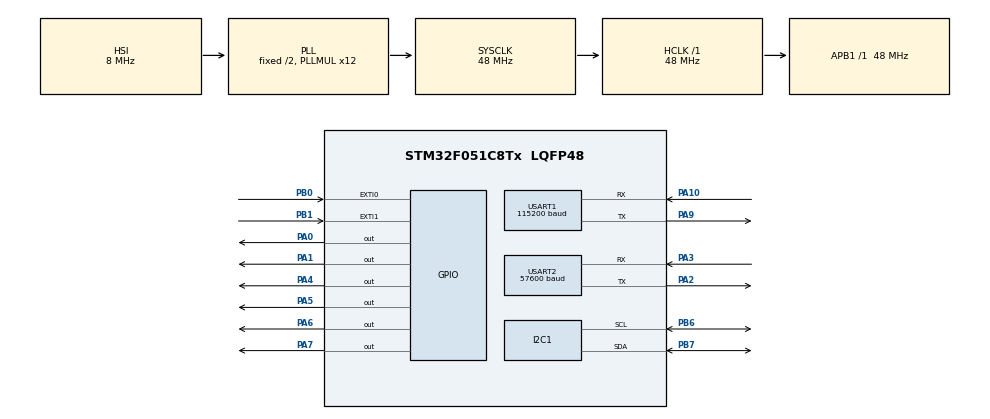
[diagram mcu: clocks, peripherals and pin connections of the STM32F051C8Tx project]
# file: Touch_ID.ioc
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Dma.Request0=USART2_RX
Dma.USART2_RX.0.Direction=DMA_PERIPH_TO_MEMORY
Dma.USART2_RX.0.Instance=DMA1_Channel5
Dma.USART2_RX.0.MemDataAlignment=DMA_MDATAALIGN_BYTE
Dma.USART2_RX.0.MemInc=DMA_MINC_ENABLE
Dma.USART2_RX.0.Mode=DMA_NORMAL
Dma.USART2_RX.0.PeriphDataAlignment=DMA_PDATAALIGN_BYTE
Dma.USART2_RX.0.PeriphInc=DMA_PINC_DISABLE
Dma.USART2_RX.0.Priority=DMA_PRIORITY_LOW
I2C1.OwnAddress=0x33
I2C1.Timing=0x2000090E
Mcu.Family=STM32F0
Mcu.Name=STM32F051C8Tx
Mcu.Package=LQFP48
NVIC.DMA1_Channel4_5_IRQn=true\:0\:0\:false
NVIC.EXTI0_1_IRQn=true\:0\:0\:false
NVIC.TIM2_IRQn=true\:0\:0\:false
NVIC.USART1_IRQn=true\:0\:0\:false
NVIC.USART2_IRQn=true\:0\:0\:false
PA0.GPIO_Speed=GPIO_SPEED_HIGH
PA0.Signal=GPIO_Output
PA1.GPIO_Speed=GPIO_SPEED_HIGH
PA1.Signal=GPIO_Output
PA10.Mode=Asynchronous
PA10.Signal=USART1_RX
PA2.Mode=Asynchronous
PA2.Signal=USART2_TX
PA3.Mode=Asynchronous
PA3.Signal=USART2_RX
PA4.GPIO_Speed=GPIO_SPEED_HIGH
PA4.Signal=GPIO_Output
PA5.GPIO_Speed=GPIO_SPEED_HIGH
PA5.Signal=GPIO_Output
PA6.GPIO_Speed=GPIO_SPEED_HIGH
PA6.Signal=GPIO_Output
PA7.GPIO_Speed=GPIO_SPEED_HIGH
PA7.Signal=GPIO_Output
PA9.Mode=Asynchronous
PA9.Signal=USART1_TX
PB0.GPIO_ModeDefaultEXTI=GPIO_MODE_IT_FALLING
PB0.Signal=GPXTI0
PB1.GPIO_ModeDefaultEXTI=GPIO_MODE_IT_FALLING
PB1.Signal=GPXTI1
PB6.Mode=I2C
PB6.Signal=I2C1_SCL
PB7.Mode=I2C
PB7.Signal=I2C1_SDA
PC14-OSC32_IN.Mode=LSE-External-Oscillator
PC14-OSC32_IN.Signal=RCC_OSC32_IN
PC15-OSC32_OUT.Mode=LSE-External-Oscillator
PC15-OSC32_OUT.Signal=RCC_OSC32_OUT
PF0-OSC_IN.Mode=HSE-External-Clock-Source
PF0-OSC_IN.Signal=RCC_OSC_IN
ProjectManager.TargetToolchain=MDK-ARM V5
RCC.AHBFreq_Value=48000000
RCC.APB1Freq_Value=48000000
RCC.APB1TimFreq_Value=48000000
RCC.HCLKFreq_Value=48000000
RCC.PLLMUL=RCC_PLL_MUL12
RCC.SYSCLKFreq_VALUE=48000000
RCC.SYSCLKSource=RCC_SYSCLKSOURCE_PLLCLK
TIM2.ClockDivision=TIM_CLOCKDIVISION_DIV2
TIM2.Period=35
TIM2.Prescaler=4199
TIM2.TIM_MasterSlaveMode=TIM_MASTERSLAVEMODE_ENABLE
USART1.BaudRate=115200
USART2.BaudRate=57600
VP_TIM2_VS_ClockSourceITR.Mode=TriggerSource_ITR0
VP_TIM2_VS_ControllerModeTrigger.Mode=Trigger Mode
VP_TIM2_VS_no_output1.Mode=Output Compare1 No Output
board=Touch_ID

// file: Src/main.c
/**
  ******************************************************************************
  * File Name          : main.c
  * Description        : Main program body
  ******************************************************************************
  *
  * COPYRIGHT(c) 2016 STMicroelectronics
  *
  * Redistribution and use in source and binary forms, with or without modification,
  * are permitted provided that the following conditions are met:
  *   1. Redistributions of source code must retain the above copyright notice,
  *      this list of conditions and the following disclaimer.
  *   2. Redistributions in binary form must reproduce the above copyright notice,
  *      this list of conditions and the following disclaimer in the documentation
  *      and/or other materials provided with the distribution.
  *   3. Neither the name of STMicroelectronics nor the names of its contributors
  *      may be used to endorse or promote products derived from this software
  *      without specific prior written permission.
  *
  * THIS SOFTWARE IS PROVIDED BY THE COPYRIGHT HOLDERS AND CONTRIBUTORS "AS IS"
  * AND ANY EXPRESS OR IMPLIED WARRANTIES, INCLUDING, BUT NOT LIMITED TO, THE
  * IMPLIED WARRANTIES OF MERCHANTABILITY AND FITNESS FOR A PARTICULAR PURPOSE ARE
  * DISCLAIMED. IN NO EVENT SHALL THE COPYRIGHT HOLDER OR CONTRIBUTORS BE LIABLE
  * FOR ANY DIRECT, INDIRECT, INCIDENTAL, SPECIAL, EXEMPLARY, OR CONSEQUENTIAL
  * DAMAGES (INCLUDING, BUT NOT LIMITED TO, PROCUREMENT OF SUBSTITUTE GOODS OR
  * SERVICES; LOSS OF USE, DATA, OR PROFITS; OR BUSINESS INTERRUPTION) HOWEVER
  * CAUSED AND ON ANY THEORY OF LIABILITY, WHETHER IN CONTRACT, STRICT LIABILITY,
  * OR TORT (INCLUDING NEGLIGENCE OR OTHERWISE) ARISING IN ANY WAY OUT OF THE USE
  * OF THIS SOFTWARE, EVEN IF ADVISED OF THE POSSIBILITY OF SUCH DAMAGE.
  *
  ******************************************************************************
  */
#include "stm32f0xx_hal.h"
#include "dma.h"
#include "i2c.h"
#include "tim.h"
#include "usart.h"
#include "gpio.h"

/* USER CODE BEGIN Includes */
#include "lcd.h"
#include "font.h"
#include "FPM_Finger.h"
#include "mb.h"
#include "mbport.h"
#include "FS_FIFO_V1.h"
/* USER CODE END Includes */

/* USER CODE BEGIN PV */
/* Private variables ---------------------------------------------------------*/

//保持寄存器数组
uint16_t usRegHoldingBuf[REG_HOLDING_NREGS] = {0};
//保持寄存器起始地址
uint16_t usRegHoldingStart = REG_HOLDING_START;

struct FIFOqueue Finger_fifo;

//定义一个用户要使用的起始地址和定义一个缓冲区
//static USHORT usRegInputStart = REG_INPUT_START;
//static USHORT usRegInputBuf;

extern uint8_t FPM_Data[128]; //用于存放指令数据域的值
extern uint8_t UART_FPM_CMD[256]; //用于存放指令，方面串口发送
extern uint8_t KEY2_FLAG;//KEY2按键标志位
extern uint8_t KEY3_FLAG;//KEY3按键标志位
extern uint8_t dma_state;//串口DMA接收数据状态标识
extern uint8_t UART_SEND_FLAG;
extern uint8_t UART_RECV_FLAG;
extern uint16_t Person_num ;

volatile uint16_t FingerCount = 0; //用于存放指纹个数
/* USER CODE END PV */

void SystemClock_Config(void);

/* USER CODE BEGIN PFP */
/* Private function prototypes -----------------------------------------------*/

/* USER CODE END PFP */

/* USER CODE BEGIN 0 */
uint8_t retvalue = 10;
unsigned char Show_find_man_num[128] = {0};
/* USER CODE END 0 */

int main(void)
{

  /* MCU Configuration----------------------------------------------------------*/

  /* Reset of all peripherals, Initializes the Flash interface and the Systick. */
  HAL_Init();

  /* Configure the system clock */
  SystemClock_Config();

  /* Initialize all configured peripherals */
  MX_GPIO_Init();
  MX_DMA_Init();
  MX_I2C1_Init();
  MX_TIM2_Init();
  MX_USART1_UART_Init();
  MX_USART2_UART_Init();

  /* USER CODE BEGIN 2 */
	Init_sth();
	eMBInit(MB_RTU, MSlaveID, MODBUS_UART_NUMBER, MODBUS_UART_BAUD, MB_PAR_NONE);
	eMBEnable();
  /* USER CODE END 2 */

  /* Infinite loop */
  while (1)
  {

  /* USER CODE BEGIN 3 */
		if(KEY2_FLAG == 1)	     //Press Key2
		{
			KEY2_FLAG = 0;
			Write_Finger();
		}
		else if(KEY3_FLAG == 1)  //Press Key3
		{
			KEY3_FLAG = 0;
			Delate_Finger();
		}
		else
		{
			Find_Finger();
		}
		eMBPoll();
  }
  /* USER CODE END 3 */

}

/** System Clock Configuration
*/
void SystemClock_Config(void)
{

  RCC_OscInitTypeDef RCC_OscInitStruct;
  RCC_ClkInitTypeDef RCC_ClkInitStruct;
  RCC_PeriphCLKInitTypeDef PeriphClkInit;

  RCC_OscInitStruct.OscillatorType = RCC_OSCILLATORTYPE_HSI;
  RCC_OscInitStruct.HSIState = RCC_HSI_ON;
  RCC_OscInitStruct.HSICalibrationValue = 16;
  RCC_OscInitStruct.PLL.PLLState = RCC_PLL_ON;
  RCC_OscInitStruct.PLL.PLLSource = RCC_PLLSOURCE_HSI;
  RCC_OscInitStruct.PLL.PLLMUL = RCC_PLL_MUL12;
  RCC_OscInitStruct.PLL.PREDIV = RCC_PREDIV_DIV1;
  HAL_RCC_OscConfig(&RCC_OscInitStruct);

  RCC_ClkInitStruct.ClockType = RCC_CLOCKTYPE_SYSCLK;
  RCC_ClkInitStruct.SYSCLKSource = RCC_SYSCLKSOURCE_PLLCLK;
  RCC_ClkInitStruct.AHBCLKDivider = RCC_SYSCLK_DIV1;
  RCC_ClkInitStruct.APB1CLKDivider = RCC_HCLK_DIV1;
  HAL_RCC_ClockConfig(&RCC_ClkInitStruct, FLASH_LATENCY_1);

  PeriphClkInit.PeriphClockSelection = RCC_PERIPHCLK_USART1|RCC_PERIPHCLK_I2C1;
  PeriphClkInit.Usart1ClockSelection = RCC_USART1CLKSOURCE_PCLK1;
  PeriphClkInit.I2c1ClockSelection = RCC_I2C1CLKSOURCE_HSI;
  HAL_RCCEx_PeriphCLKConfig(&PeriphClkInit);

  HAL_SYSTICK_Config(HAL_RCC_GetHCLKFreq()/1000);

  HAL_SYSTICK_CLKSourceConfig(SYSTICK_CLKSOURCE_HCLK);

  /* SysTick_IRQn interrupt configuration */
  HAL_NVIC_SetPriority(SysTick_IRQn, 0, 0);
}

/* USER CODE BEGIN 4 */
int fputc(int ch, FILE *f)
{
    while((USART1->ISR&0X40)==0);
    USART1->TDR = (uint8_t) ch;
    return ch;
}

eMBErrorCode
eMBRegInputCB( UCHAR * pucRegBuffer, USHORT usAddress, USHORT usNRegs )
{
    eMBErrorCode    eStatus = MB_ENOERR;
//    int             iRegIndex;

//
//	**usRegInputBuf = 0x11;
//	usRegInputBuf = 0x22;
//	usRegInputBuf = 0x33;
//	usRegInputBuf = 0x44;**
//
//
//
//    if( ( usAddress >= REG_INPUT_START )
//        && ( usAddress + usNRegs <= REG_INPUT_START + REG_INPUT_NREGS ) )
//    {
//        iRegIndex = ( int )( usAddress - usRegInputStart );
//        while( usNRegs > 0 )
//        {
//            *pucRegBuffer++ =
//                ( unsigned char )( usRegInputBuf >> 8 );
//            *pucRegBuffer++ =
//                ( unsigned char )( usRegInputBuf & 0xFF );
//            iRegIndex++;
//            usNRegs--;
//        }
//    }
//    else
//    {
//        eStatus = MB_ENOREG;
//    }

    return eStatus;
}

eMBErrorCode
eMBRegHoldingCB( UCHAR * pucRegBuffer, USHORT usAddress, USHORT usNRegs,
                 eMBRegisterMode eMode )
{

  eMBErrorCode    eStatus = MB_ENOERR;
  //???
  int16_t         iRegIndex;
  usAddress--;      // ?????0??????,???????1(?PLC??)???????

  //????????????
  if( ( usAddress >= REG_HOLDING_START ) \
    && ( usAddress + usNRegs <= REG_HOLDING_START + REG_HOLDING_NREGS ) )
  {
    //?????
    iRegIndex = ( int16_t )( usAddress - usRegHoldingStart );

    switch ( eMode )
    {
      //?????
    case MB_REG_READ:
      while( usNRegs > 0 )
      {
        *pucRegBuffer++ = ( uint8_t )( usRegHoldingBuf[iRegIndex] >> 8 );
        *pucRegBuffer++ = ( uint8_t )( usRegHoldingBuf[iRegIndex] & 0xFF );
        iRegIndex++;
        usNRegs--;
      }
      break;

      //?????
    case MB_REG_WRITE:
      while( usNRegs > 0 )
      {
        usRegHoldingBuf[iRegIndex] = *pucRegBuffer++ << 8;
        usRegHoldingBuf[iRegIndex] |= *pucRegBuffer++;
        iRegIndex++;
        usNRegs--;
      }
      //*********************************************???????????EEPROM*************************************************************/

    }
  }
  else
  {
    //??????
    eStatus = MB_ENOREG;
  }

  return eStatus;
}

eMBErrorCode
eMBRegCoilsCB( UCHAR * pucRegBuffer, USHORT usAddress, USHORT usNCoils,
               eMBRegisterMode eMode )
{
    return MB_ENOREG;
}

eMBErrorCode
eMBRegDiscreteCB( UCHAR * pucRegBuffer, USHORT usAddress, USHORT usNDiscrete )
{
    return MB_ENOREG;
}

/* USER CODE END 4 */

/************************ (C) COPYRIGHT STMicroelectronics *****END OF FILE****/
